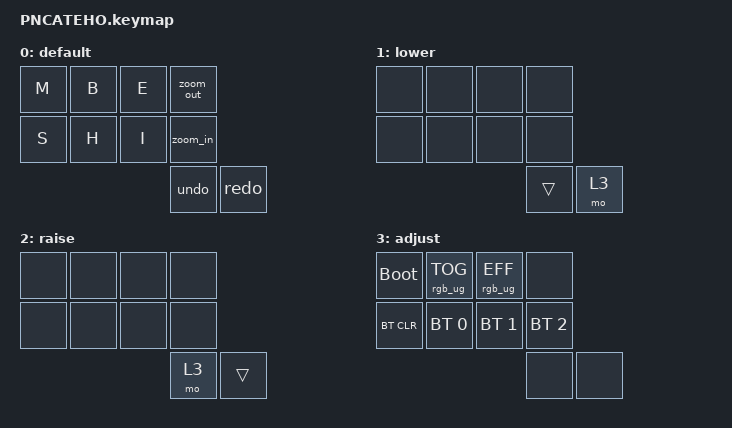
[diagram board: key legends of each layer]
/*
 * Copyright (c) 2020 The ZMK Contributors
 *
 * SPDX-License-Identifier: MIT
 */

#include <behaviors.dtsi>
#include <dt-bindings/zmk/bt.h>
#include <dt-bindings/zmk/rgb.h>

&lt { quick_tap_ms = <200>; };

&mt { quick_tap_ms = <200>; };

/ {
    behaviors {
        zoom_in: zoom_in {
            compatible = "zmk,behavior-macro";
            #binding-cells = <0>;
            wait-ms = <10>;
            tap-ms = <10>;
            bindings = 
                <&macro_press &kp LCTRL>,
                <&macro_tap &kp PLUS>,
                <&macro_release &kp LCTRL>;
        };

        zoom_out: zoom_out {
            compatible = "zmk,behavior-macro";
            #binding-cells = <0>;
            wait-ms = <10>;
            tap-ms = <10>;
            bindings = 
                <&macro_press &kp LCTRL>,
                <&macro_tap &kp MINUS>,
                <&macro_release &kp LCTRL>;
        };

        undo: undo {
            compatible = "zmk,behavior-macro";
            #binding-cells = <0>;
            wait-ms = <10>;
            tap-ms = <10>;
            bindings = 
                <&macro_press &kp LCTRL>, 
                <&macro_tap &kp Z>,
                <&macro_release &kp LCTRL>;
        };

        redo: redo {
            compatible = "zmk,behavior-macro";
            #binding-cells = <0>;
            wait-ms = <10>;
            tap-ms = <10>;
            bindings = 
                <&macro_press &kp LCTRL &kp LSHFT>, 
                <&macro_tap &kp Z>, 
                <&macro_release &kp LCTRL &kp LSHFT>;
        };
    };

    keymap {
        compatible = "zmk,keymap";

        default_layer {
            label = "default";
            bindings = <
&kp M  &kp B  &kp E  &zoom_out
&kp S  &kp H  &kp I  &zoom_in
                     &undo  &redo
            >;
        };

        lower_layer {
            label = "lower";
            bindings = <
&none  &none  &none  &none
&none  &none  &none  &none
                     &trans  &mo 3
            >;
        };

        raise_layer {
            label = "raise";
            bindings = <
&none  &none  &none  &none
&none  &none  &none  &none
                     &mo 3  &trans
            >;
        };

        adjust_layer {
            label = "adjust";
            bindings = <
&bootloader  &rgb_ug RGB_TOG  &rgb_ug RGB_EFF  &none
&bt BT_CLR   &bt BT_SEL 0     &bt BT_SEL 1     &bt BT_SEL 2
                                               &none         &none
            >;
        };
    };
};
